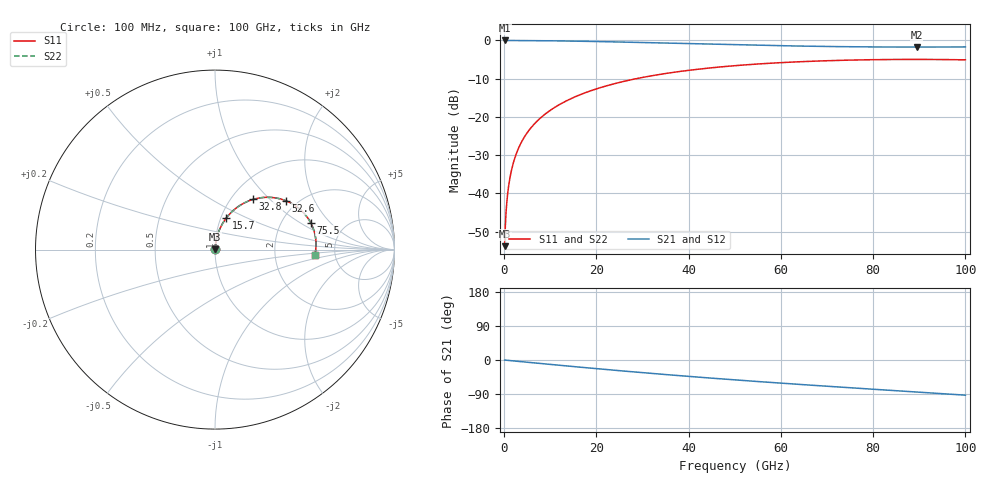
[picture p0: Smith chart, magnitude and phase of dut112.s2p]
! Touchstone file exported from HFSS 2026.1.0
!  File:  C:/ffzhzh/LocalFiles/Ansys_Project_Files/temp_train_RDL_112_1783499297_55944.aedt
!  Generated:  04:29:23 PM Jul  8, 2026
!  Design:  RDL
!  Project:  temp_train_RDL_112_1783499297_55944
! Variables:
!  h_bsmrdl = 2um
!  h_ox = 20um
!  h_rdl = 5um
!  h_sub = 80um
!  h_tmrdl = 2.92um
!  h_tsv = 80um
!  h_via = 3um
!  l_bsmrdl = 300um
!  l_sub = 680.71um
!  l_tmrdl = 280.71um
!  m_sub = 200um
!  pitch = 59.7um
!  r_tsv = 6um
!  s_tmrdl = 10um
!  w_bsmrdl = 18um
!  w_sub = 500um
!  w_tmrdl = 28.02um
!  x_tsv_center1 = 294.72um
!  x_tsv_center2 = 612.72um
!  x_tsv_center3 = 921.45um
!  x_tsv_center4 = 1239.45um
!  x_tsv_center5 = 1548.18um
!  x_tsv_center6 = 1866.18um
# GHz S MA R 50.000000
! Terminal data exported
! Port[1] = TM_RDL1_1_T1
! Port[2] = TM_RDL1_1_T2
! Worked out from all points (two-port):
!   1000 points, 100 MHz to 100 GHz, reference 50 ohm
!   highest |S21| = -0.01 dB at 100 MHz (marker M1); lowest = -1.7 dB at 89.4 GHz (marker M2)
!   |S21| within 3 dB of the highest: start of sweep to end of sweep
!   lowest |S11| = -53.8 dB at 100 MHz (marker M3), VSWR 1.00, Z = 50.2 + j0.137 ohm
!   |S11| at or under -10 dB: start of sweep to 28.68 GHz
!   |S22| runs from -53.8 to -5.0 dB; largest |S21 - S12| = 6.7e-15
!   S11 on the Smith chart (normalised r, x): 100 MHz: 1.00, +0.00; 15.7 GHz: 1.06, +0.39; 32.8 GHz: 1.26, +0.80; 52.6 GHz: 1.75, +1.24; 75.5 GHz: 2.88, +1.25; 100 GHz: 3.48, -0.30
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0.1  0.002039 42.1  0.9985 -0.1  0.9985 -0.1  0.002039 42.1
! Gamma 0 0 0 0
! Port Impedance 50 0 50 0
0.8  0.01037 78.5  0.998 -1.0  0.998 -1.0  0.01037 78.5
1.1  0.01403 80.7  0.9979 -1.3  0.9979 -1.3  0.01403 80.7
1.4  0.01772 81.8  0.9978 -1.7  0.9978 -1.7  0.01772 81.9
1.9  0.0239 82.8  0.9976 -2.2  0.9976 -2.2  0.0239 82.8
2.4  0.03008 83.1  0.9974 -2.8  0.9974 -2.8  0.03008 83.1
3.8  0.04735 82.7  0.9965 -4.5  0.9965 -4.5  0.04735 82.7
5.8  0.07179 81.0  0.9946 -6.8  0.9946 -6.8  0.07179 81.0
8.4  0.103 78.3  0.9913 -9.8  0.9913 -9.8  0.103 78.3
11.7  0.1415 74.7  0.9858 -13.6  0.9858 -13.6  0.1415 74.7
15.7  0.1865 70.4  0.9776 -18.1  0.9776 -18.1  0.1864 70.4
16.8  0.1984 69.2  0.975 -19.3  0.975 -19.3  0.1984 69.2
24  0.2725 61.6  0.9562 -27.1  0.9562 -27.1  0.2725 61.6
32.8  0.3516 52.7  0.9295 -36.2  0.9295 -36.2  0.3516 52.7
33.4  0.3565 52.1  0.9276 -36.8  0.9276 -36.8  0.3565 52.2
50.1  0.4678 36.6  0.8767 -52.5  0.8767 -52.5  0.4677 36.7
52.6  0.4804 34.5  0.8699 -54.7  0.8699 -54.7  0.4804 34.5
66.7  0.5339 22.7  0.8383 -66.6  0.8383 -66.6  0.5339 22.8
75.5  0.5534 15.8  0.8256 -73.6  0.8256 -73.6  0.5534 15.8
83.4  0.5626 9.7  0.8194 -79.8  0.8194 -79.8  0.5625 9.7
89.4  0.5644 5.1  0.8179 -84.5  0.8179 -84.5  0.5643 5.1
100  0.5568 -3.1  0.8225 -92.8  0.8225 -92.8  0.5568 -3.0
